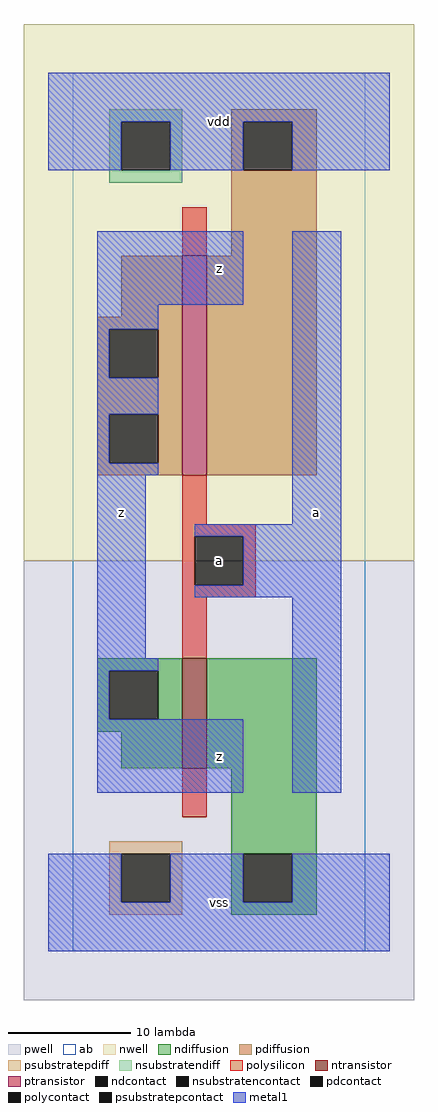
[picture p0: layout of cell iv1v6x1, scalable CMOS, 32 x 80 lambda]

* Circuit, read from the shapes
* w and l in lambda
.subckt iv1v6x1 a vdd vss z
M1 vss a z vss nfet w=9 l=2
M2 vdd a z vdd pfet w=18 l=2
.ends

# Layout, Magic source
magic
tech scmos
<< ab >>
rect 0 0 24 72
<< pwell >>
rect -4 -4 28 32
<< nwell >>
rect -4 32 28 76
<< polysilicon >>
rect 9 57 11 61
rect 9 35 11 39
rect 9 34 15 35
rect 9 30 10 34
rect 14 30 15 34
rect 9 29 15 30
rect 9 24 11 29
rect 9 11 11 15
<< ndiffusion >>
rect 2 23 9 24
rect 2 19 3 23
rect 7 19 9 23
rect 2 18 9 19
rect 4 15 9 18
rect 11 15 20 24
rect 13 8 20 15
rect 13 4 14 8
rect 18 4 20 8
rect 13 3 20 4
<< pdiffusion >>
rect 13 68 20 69
rect 13 64 14 68
rect 18 64 20 68
rect 13 57 20 64
rect 4 52 9 57
rect 2 51 9 52
rect 2 47 3 51
rect 7 47 9 51
rect 2 44 9 47
rect 2 40 3 44
rect 7 40 9 44
rect 2 39 9 40
rect 11 39 20 57
<< metal1 >>
rect -2 68 26 72
rect -2 64 4 68
rect 8 64 14 68
rect 18 64 26 68
rect 2 53 14 59
rect 2 51 7 53
rect 2 47 3 51
rect 2 44 7 47
rect 2 40 3 44
rect 2 39 7 40
rect 2 24 6 39
rect 18 35 22 59
rect 10 34 22 35
rect 14 30 22 34
rect 10 29 22 30
rect 2 23 7 24
rect 2 19 3 23
rect 2 13 14 19
rect 18 13 22 29
rect -2 4 4 8
rect 8 4 14 8
rect 18 4 26 8
rect -2 0 26 4
<< ntransistor >>
rect 9 15 11 24
<< ptransistor >>
rect 9 39 11 57
<< polycontact >>
rect 10 30 14 34
<< ndcontact >>
rect 3 19 7 23
rect 14 4 18 8
<< pdcontact >>
rect 14 64 18 68
rect 3 47 7 51
rect 3 40 7 44
<< psubstratepcontact >>
rect 4 4 8 8
<< nsubstratencontact >>
rect 4 64 8 68
<< psubstratepdiff >>
rect 3 8 9 9
rect 3 4 4 8
rect 8 4 9 8
rect 3 3 9 4
<< nsubstratendiff >>
rect 3 68 9 69
rect 3 64 4 68
rect 8 64 9 68
rect 3 63 9 64
<< labels >>
rlabel metal1 4 36 4 36 6 z
rlabel metal1 12 4 12 4 6 vss
rlabel metal1 12 16 12 16 6 z
rlabel polycontact 12 32 12 32 6 a
rlabel metal1 12 56 12 56 6 z
rlabel metal1 12 68 12 68 6 vdd
rlabel metal1 20 36 20 36 6 a
<< end >>
